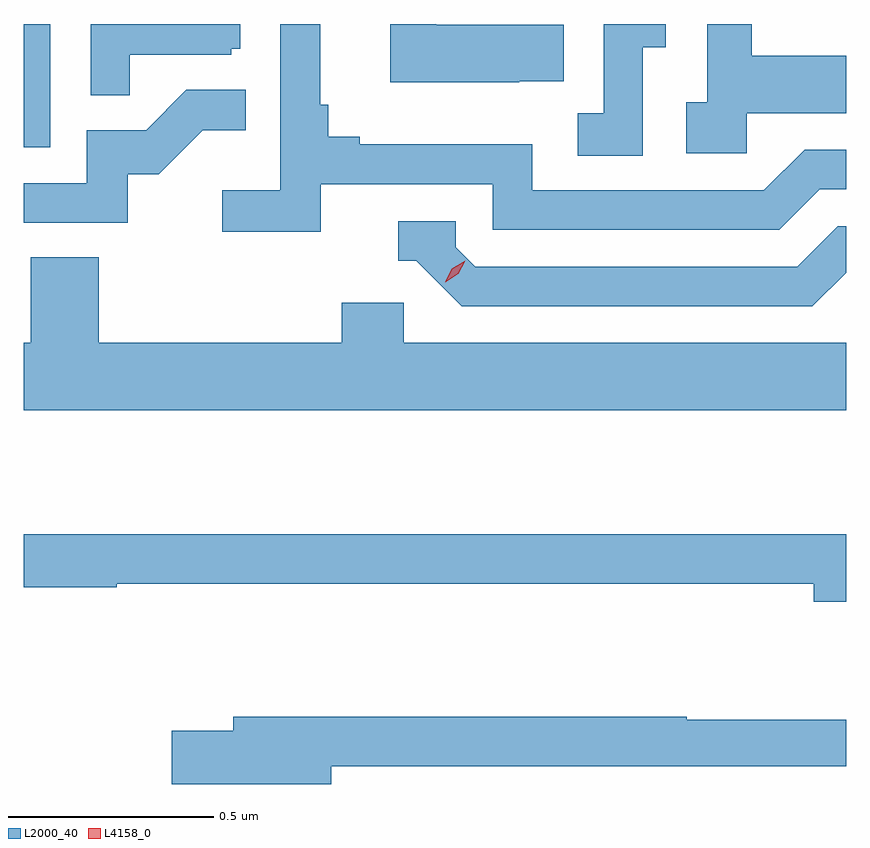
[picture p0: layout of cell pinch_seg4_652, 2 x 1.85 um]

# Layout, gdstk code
import gdstk
lib = gdstk.Library(unit=1e-6, precision=1e-09)
def R(c, l, rs):  # rectangles x0, y0, x1, y1
    for r in rs: c.add(gdstk.rectangle(r[:2], r[2:], *l))
def P(c, l, *ps):  # polygons
    for p in ps: c.add(gdstk.Polygon(p, *l))
L2000_40 = (2000, 40)
L4158_0 = (4158, 0)

pinch_seg4_652 = lib.new_cell('pinch_seg4_652')
R(pinch_seg4_652, L2000_40, [(1046.094,765.492,1046.158,765.792)])
P(pinch_seg4_652, L2000_40, [(1047.6,765.736),(1047.655,765.736),(1047.655,765.792),(1047.504,765.792),(1047.504,765.575),(1047.441,765.575),(1047.441,765.472),(1047.6,765.472)],
  [(1047.852,765.575),(1048.094,765.575),(1048.094,765.715),(1047.865,765.715),(1047.865,765.792),(1047.756,765.792),(1047.756,765.602),(1047.705,765.602),(1047.705,765.477),(1047.852,765.477)],
  [(1047.299,765.653),(1047.407,765.653),(1047.407,765.79),(1047.097,765.79),(1047.097,765.792),(1046.985,765.792),(1046.985,765.65),(1047.299,765.65)],
  [(1046.351,765.717),(1046.598,765.717),(1046.598,765.732),(1046.62,765.732),(1046.62,765.792),(1046.256,765.792),(1046.256,765.619),(1046.351,765.619)],
  [(1046.816,765.402),(1047.234,765.402),(1047.234,765.291),(1047.931,765.291),(1048.03,765.39),(1048.094,765.39),(1048.094,765.486),(1047.993,765.486),(1047.894,765.387),(1047.33,765.387),(1047.33,765.499),(1046.911,765.499),(1046.911,765.518),(1046.834,765.518),(1046.834,765.595),(1046.815,765.595),(1046.815,765.792),(1046.718,765.792),(1046.718,765.388),(1046.577,765.388),(1046.577,765.286),(1046.816,765.286)],
  [(1046.346,765.426),(1046.422,765.426),(1046.529,765.533),(1046.633,765.533),(1046.633,765.632),(1046.489,765.632),(1046.391,765.534),(1046.247,765.534),(1046.247,765.405),(1046.094,765.405),(1046.094,765.309),(1046.346,765.309)],
  [(1048.094,765.187),(1048.094,765.3),(1048.074,765.3),(1047.975,765.201),(1047.192,765.201),(1047.144,765.249),(1047.144,765.312),(1047.005,765.312),(1047.005,765.216),(1047.048,765.216),(1047.159,765.105),(1048.012,765.105)],
  [(1048.094,765.016),(1047.018,765.016),(1047.018,765.114),(1046.867,765.114),(1046.867,765.016),(1046.276,765.016),(1046.276,765.224),(1046.111,765.224),(1046.111,765.016),(1046.094,765.016),(1046.094,764.852),(1048.094,764.852)],
  [(1048.094,764.551),(1046.094,764.551),(1046.094,764.422),(1046.32,764.422),(1046.32,764.43),(1048.016,764.43),(1048.016,764.387),(1048.094,764.387)],
  [(1046.842,763.986),(1048.094,763.986),(1048.094,764.099),(1047.707,764.099),(1047.707,764.107),(1046.603,764.107),(1046.603,764.073),(1046.454,764.073),(1046.454,763.943),(1046.842,763.943)])
P(pinch_seg4_652, L4158_0, [(1047.119,765.164),(1047.119,765.165),(1047.135,765.197),(1047.167,765.216),(1047.167,765.216),(1047.167,765.216),(1047.15,765.184),(1047.119,765.164)])

lib.write_gds('pinch_seg4_652.gds')
